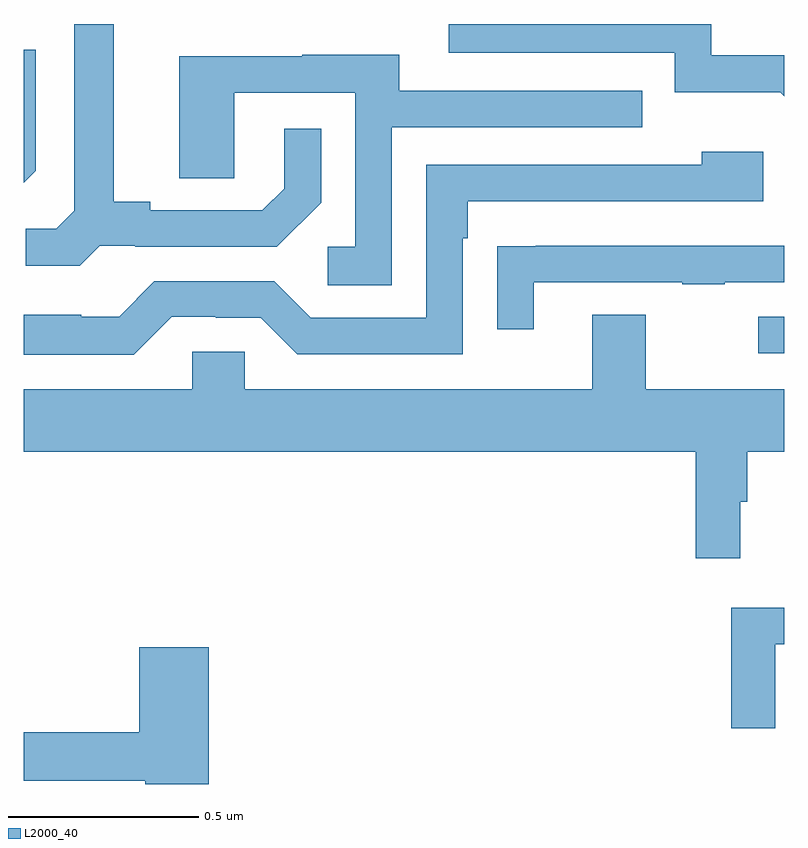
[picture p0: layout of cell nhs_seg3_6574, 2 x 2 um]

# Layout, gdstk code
import gdstk
lib = gdstk.Library(unit=1e-6, precision=1e-09)
def R(c, l, rs):  # rectangles x0, y0, x1, y1
    for r in rs: c.add(gdstk.rectangle(r[:2], r[2:], *l))
def P(c, l, *ps):  # polygons
    for p in ps: c.add(gdstk.Polygon(p, *l))
L2000_40 = (2000, 40)

nhs_seg3_6574 = lib.new_cell('nhs_seg3_6574')
R(nhs_seg3_6574, L2000_40, [(194.931,674.535,195,674.631)])
P(nhs_seg3_6574, L2000_40, [(195,675.318),(194.808,675.318),(194.808,675.4),(194.117,675.4),(194.117,675.324),(194.712,675.324),(194.712,675.221),(194.989,675.221),(195,675.21)],
  [(193.2,674.817),(193.294,674.817),(193.294,674.814),(193.666,674.814),(193.782,674.93),(193.782,675.124),(193.685,675.124),(193.685,674.967),(193.628,674.91),(193.333,674.91),(193.333,674.933),(193.237,674.933),(193.237,675.4),(193.133,675.4),(193.133,674.909),(193.086,674.862),(193.005,674.862),(193.005,674.765),(193.148,674.765)],
  [(193.032,675.014),(193.032,675.332),(193,675.332),(193,674.982)],
  [(193.968,675.129),(194.627,675.129),(194.627,675.225),(193.987,675.225),(193.987,675.319),(193.733,675.319),(193.733,675.315),(193.409,675.315),(193.409,674.995),(193.554,674.995),(193.554,675.219),(193.872,675.219),(193.872,674.814),(193.8,674.814),(193.8,674.713),(193.968,674.713)],
  [(193.389,674.631),(193.505,674.631),(193.505,674.628),(193.623,674.628),(193.719,674.532),(194.154,674.532),(194.154,674.837),(194.167,674.837),(194.167,674.934),(194.944,674.934),(194.944,675.064),(194.783,675.064),(194.783,675.03),(194.058,675.03),(194.058,674.628),(193.755,674.628),(193.659,674.724),(193.344,674.724),(193.251,674.631),(193.151,674.631),(193.151,674.635),(193,674.635),(193,674.531),(193.289,674.531)],
  [(194.341,674.721),(194.731,674.721),(194.731,674.716),(194.843,674.716),(194.843,674.721),(195,674.721),(195,674.817),(194.347,674.817),(194.347,674.816),(194.245,674.816),(194.245,674.598),(194.341,674.598)],
  [(194.635,674.635),(194.495,674.635),(194.495,674.44),(193.581,674.44),(193.581,674.538),(193.443,674.538),(193.443,674.44),(193,674.44),(193,674.276),(194.767,674.276),(194.767,673.995),(194.884,673.995),(194.884,674.144),(194.903,674.144),(194.903,674.276),(195,674.276),(195,674.44),(194.635,674.44)],
  [(194.976,673.77),(195,673.77),(195,673.866),(194.86,673.866),(194.86,673.548),(194.976,673.548)],
  [(193.487,673.762),(193.304,673.762),(193.304,673.538),(193,673.538),(193,673.41),(193.32,673.41),(193.32,673.402),(193.487,673.402)])

lib.write_gds('nhs_seg3_6574.gds')
